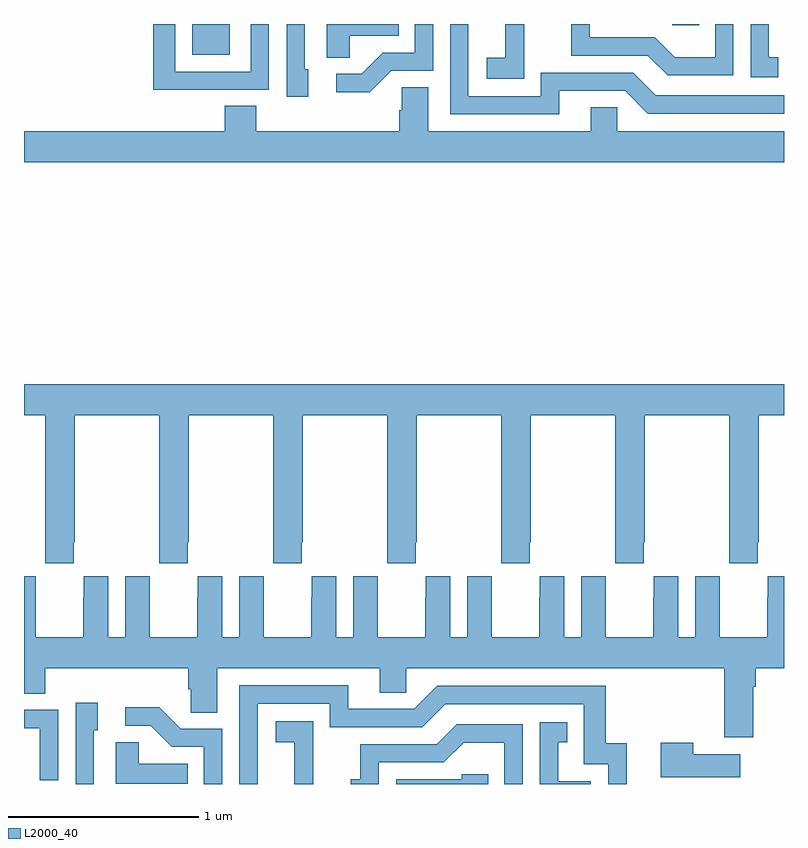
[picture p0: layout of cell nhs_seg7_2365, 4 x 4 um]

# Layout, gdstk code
import gdstk
lib = gdstk.Library(unit=1e-6, precision=1e-09)
def R(c, l, rs):  # rectangles x0, y0, x1, y1
    for r in rs: c.add(gdstk.rectangle(r[:2], r[2:], *l))
def P(c, l, *ps):  # polygons
    for p in ps: c.add(gdstk.Polygon(p, *l))
L2000_40 = (2000, 40)

nhs_seg7_2365 = lib.new_cell('nhs_seg7_2365')
R(nhs_seg7_2365, L2000_40, [(265.886,1011.839,266.083,1012), (268.413,1011.993,268.553,1012)])
P(nhs_seg7_2365, L2000_40, [(267.633,1011.919),(267.632,1011.919),(267.632,1012),(267.533,1012),(267.533,1011.823),(267.435,1011.823),(267.435,1011.713),(267.633,1011.713)],
  [(268.97,1011.825),(268.921,1011.825),(268.921,1012),(268.824,1012),(268.824,1011.72),(268.97,1011.72)],
  [(265.973,1011.654),(266.289,1011.654),(266.289,1012),(266.193,1012),(266.193,1011.75),(265.797,1011.75),(265.797,1012),(265.681,1012),(265.681,1011.653),(265.973,1011.653)],
  [(266.715,1011.938),(266.972,1011.938),(266.972,1012),(266.594,1012),(266.594,1011.823),(266.715,1011.823)],
  [(266.497,1011.762),(266.478,1011.762),(266.478,1012),(266.382,1012),(266.382,1011.618),(266.497,1011.618)],
  [(267.817,1011.648),(268.164,1011.648),(268.284,1011.528),(269,1011.528),(269,1011.624),(268.326,1011.624),(268.206,1011.744),(267.72,1011.744),(267.72,1011.621),(267.339,1011.621),(267.339,1012),(267.243,1012),(267.243,1011.525),(267.817,1011.525)],
  [(268.734,1012),(268.638,1012),(268.638,1011.826),(268.424,1011.826),(268.32,1011.93),(267.978,1011.93),(267.978,1012),(267.88,1012),(267.88,1011.834),(268.283,1011.834),(268.388,1011.729),(268.734,1011.729)],
  [(266.934,1011.753),(267.153,1011.753),(267.153,1012),(267.057,1012),(267.057,1011.849),(266.888,1011.849),(266.777,1011.738),(266.643,1011.738),(266.643,1011.641),(266.821,1011.641)],
  [(269,1011.436),(268.122,1011.436),(268.122,1011.563),(267.983,1011.563),(267.983,1011.436),(267.127,1011.436),(267.127,1011.668),(266.988,1011.668),(266.988,1011.545),(266.975,1011.545),(266.975,1011.436),(266.222,1011.436),(266.222,1011.569),(266.057,1011.569),(266.057,1011.436),(265,1011.436),(265,1011.272),(269,1011.272)],
  [(265.263,1009.273),(265.266,1009.273),(265.266,1009.94),(265.711,1009.94),(265.711,1009.273),(265.713,1009.273),(265.713,1009.161),(265.863,1009.161),(265.863,1009.273),(265.866,1009.273),(265.866,1009.94),(266.311,1009.94),(266.311,1009.273),(266.313,1009.273),(266.313,1009.161),(266.463,1009.161),(266.463,1009.273),(266.466,1009.273),(266.466,1009.94),(266.911,1009.94),(266.911,1009.273),(266.913,1009.273),(266.913,1009.161),(267.063,1009.161),(267.063,1009.273),(267.066,1009.273),(267.066,1009.94),(267.511,1009.94),(267.511,1009.273),(267.513,1009.273),(267.513,1009.161),(267.663,1009.161),(267.663,1009.273),(267.666,1009.273),(267.666,1009.94),(268.111,1009.94),(268.111,1009.273),(268.113,1009.273),(268.113,1009.161),(268.263,1009.161),(268.263,1009.273),(268.266,1009.273),(268.266,1009.94),(268.711,1009.94),(268.711,1009.273),(268.713,1009.273),(268.713,1009.161),(268.863,1009.161),(268.863,1009.273),(268.866,1009.273),(268.866,1009.94),(269,1009.94),(269,1010.104),(265,1010.104),(265,1009.94),(265.111,1009.94),(265.111,1009.273),(265.113,1009.273),(265.113,1009.161),(265.263,1009.161)],
  [(266.873,1008.481),(267.012,1008.481),(267.012,1008.608),(268.685,1008.608),(268.685,1008.246),(268.837,1008.246),(268.837,1008.512),(268.85,1008.512),(268.85,1008.608),(269,1008.608),(269,1009.093),(268.914,1009.093),(268.914,1008.98),(268.913,1008.98),(268.913,1008.772),(268.663,1008.772),(268.663,1008.98),(268.662,1008.98),(268.662,1009.093),(268.532,1009.093),(268.532,1008.772),(268.444,1008.772),(268.444,1009.093),(268.314,1009.093),(268.314,1008.98),(268.313,1008.98),(268.313,1008.772),(268.063,1008.772),(268.063,1008.98),(268.062,1008.98),(268.062,1009.093),(267.932,1009.093),(267.932,1008.772),(267.844,1008.772),(267.844,1009.093),(267.714,1009.093),(267.714,1008.98),(267.713,1008.98),(267.713,1008.772),(267.463,1008.772),(267.463,1008.98),(267.462,1008.98),(267.462,1009.093),(267.332,1009.093),(267.332,1008.772),(267.244,1008.772),(267.244,1009.093),(267.114,1009.093),(267.114,1008.98),(267.113,1008.98),(267.113,1008.772),(266.863,1008.772),(266.863,1008.98),(266.862,1008.98),(266.862,1009.093),(266.732,1009.093),(266.732,1008.772),(266.644,1008.772),(266.644,1009.093),(266.514,1009.093),(266.514,1008.98),(266.513,1008.98),(266.513,1008.772),(266.263,1008.772),(266.263,1008.98),(266.262,1008.98),(266.262,1009.093),(266.132,1009.093),(266.132,1008.772),(266.044,1008.772),(266.044,1009.093),(265.914,1009.093),(265.914,1008.98),(265.913,1008.98),(265.913,1008.772),(265.663,1008.772),(265.663,1008.98),(265.662,1008.98),(265.662,1009.093),(265.532,1009.093),(265.532,1008.772),(265.444,1008.772),(265.444,1009.093),(265.314,1009.093),(265.314,1008.98),(265.313,1008.98),(265.313,1008.772),(265.063,1008.772),(265.063,1008.98),(265.062,1008.98),(265.062,1009.093),(265,1009.093),(265,1008.475),(265.112,1008.475),(265.112,1008.608),(265.865,1008.608),(265.865,1008.499),(265.878,1008.499),(265.878,1008.376),(266.017,1008.376),(266.017,1008.608),(266.873,1008.608)],
  [(266.229,1008.423),(266.61,1008.423),(266.61,1008.3),(267.096,1008.3),(267.216,1008.42),(267.945,1008.42),(267.945,1008.105),(268.074,1008.105),(268.074,1008),(268.172,1008),(268.172,1008.214),(268.061,1008.214),(268.061,1008.516),(267.174,1008.516),(267.054,1008.396),(266.707,1008.396),(266.707,1008.519),(266.133,1008.519),(266.133,1008),(266.229,1008)],
  [(265.368,1008.282),(265.387,1008.282),(265.387,1008.427),(265.272,1008.427),(265.272,1008),(265.368,1008)],
  [(266.043,1008.291),(265.824,1008.291),(265.711,1008.404),(265.533,1008.404),(265.533,1008.306),(265.667,1008.306),(265.778,1008.195),(265.947,1008.195),(265.947,1008),(266.043,1008)],
  [(265.179,1008.39),(265,1008.39),(265,1008.294),(265.083,1008.294),(265.083,1008.021),(265.179,1008.021)],
  [(266.522,1008.125),(266.523,1008.125),(266.523,1008.331),(266.325,1008.331),(266.325,1008.221),(266.423,1008.221),(266.423,1008),(266.522,1008)],
  [(267.984,1008.015),(267.811,1008.015),(267.811,1008.219),(267.86,1008.219),(267.86,1008.325),(267.714,1008.325),(267.714,1008),(267.984,1008)],
  [(266.868,1008.114),(267.21,1008.114),(267.314,1008.218),(267.528,1008.218),(267.528,1008),(267.624,1008),(267.624,1008.315),(267.278,1008.315),(267.173,1008.21),(266.77,1008.21),(266.77,1008.025),(266.721,1008.025),(266.721,1008),(266.868,1008)],
  [(265.862,1008.106),(265.605,1008.106),(265.605,1008.221),(265.484,1008.221),(265.484,1008.002),(265.862,1008.002)],
  [(268.771,1008.157),(268.523,1008.157),(268.523,1008.217),(268.352,1008.217),(268.352,1008.035),(268.771,1008.035)],
  [(267.443,1008.051),(267.303,1008.051),(267.303,1008.024),(266.958,1008.024),(266.958,1008),(267.443,1008)])

lib.write_gds('nhs_seg7_2365.gds')
